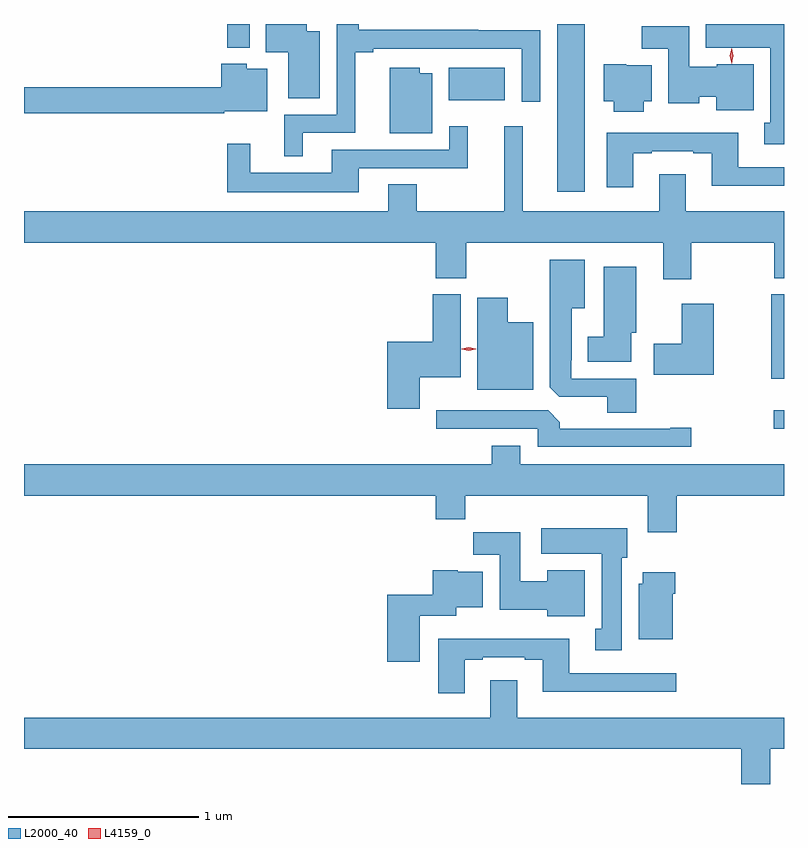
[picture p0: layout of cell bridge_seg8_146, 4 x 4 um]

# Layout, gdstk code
import gdstk
lib = gdstk.Library(unit=1e-6, precision=1e-09)
def R(c, l, rs):  # rectangles x0, y0, x1, y1
    for r in rs: c.add(gdstk.rectangle(r[:2], r[2:], *l))
def P(c, l, *ps):  # polygons
    for p in ps: c.add(gdstk.Polygon(p, *l))
L2000_40 = (2000, 40)
L4159_0 = (4159, 0)

bridge_seg8_146 = lib.new_cell('bridge_seg8_146')
R(bridge_seg8_146, L2000_40, [(523.011,1147.488,523.064,1147.584), (522.996,1147.752,523.064,1148.196), (521.87,1148.736,522.016,1149.618), (521.3,1149.218,521.593,1149.388), (520.135,1149.494,520.251,1149.618)])
P(bridge_seg8_146, L2000_40, [(520.621,1149.58),(520.552,1149.58),(520.552,1149.618),(520.336,1149.618),(520.336,1149.47),(520.454,1149.47),(520.454,1149.226),(520.621,1149.226)],
  [(520.531,1149.045),(520.808,1149.045),(520.808,1149.469),(520.903,1149.469),(520.903,1149.489),(521.685,1149.489),(521.685,1149.21),(521.781,1149.21),(521.781,1149.585),(521.456,1149.585),(521.456,1149.587),(520.826,1149.587),(520.826,1149.618),(520.71,1149.618),(520.71,1149.141),(520.433,1149.141),(520.433,1148.921),(520.531,1148.921)],
  [(523.064,1149.618),(522.653,1149.618),(522.653,1149.494),(522.992,1149.494),(522.992,1149.098),(522.959,1149.098),(522.959,1148.985),(523.064,1148.985)],
  [(522.904,1149.406),(522.711,1149.406),(522.711,1149.394),(522.565,1149.394),(522.565,1149.606),(522.316,1149.606),(522.316,1149.488),(522.455,1149.488),(522.455,1149.2),(522.619,1149.2),(522.619,1149.236),(522.707,1149.236),(522.707,1149.164),(522.904,1149.164)],
  [(520.119,1149.158),(520.345,1149.158),(520.345,1149.382),(520.236,1149.382),(520.236,1149.409),(520.103,1149.409),(520.103,1149.284),(519.064,1149.284),(519.064,1149.148),(520.119,1149.148)],
  [(522.325,1149.212),(522.367,1149.212),(522.367,1149.4),(522.234,1149.4),(522.234,1149.406),(522.116,1149.406),(522.116,1149.212),(522.167,1149.212),(522.167,1149.155),(522.325,1149.155)],
  [(521.212,1149.358),(521.146,1149.358),(521.146,1149.388),(520.988,1149.388),(520.988,1149.044),(521.212,1149.044)],
  [(520.825,1148.859),(521.399,1148.859),(521.399,1149.079),(521.301,1149.079),(521.301,1148.955),(520.685,1148.955),(520.685,1148.836),(520.255,1148.836),(520.255,1148.989),(520.134,1148.989),(520.134,1148.732),(520.825,1148.732)],
  [(522.576,1148.468),(523.012,1148.468),(523.012,1148.281),(523.064,1148.281),(523.064,1148.632),(522.547,1148.632),(522.547,1148.827),(522.407,1148.827),(522.407,1148.632),(521.69,1148.632),(521.69,1149.079),(521.591,1149.079),(521.591,1148.632),(521.13,1148.632),(521.13,1148.774),(520.982,1148.774),(520.982,1148.632),(519.064,1148.632),(519.064,1148.468),(521.231,1148.468),(521.231,1148.281),(521.391,1148.281),(521.391,1148.468),(522.428,1148.468),(522.428,1148.274),(522.576,1148.274)],
  [(522.271,1148.937),(522.367,1148.937),(522.367,1148.949),(522.587,1148.949),(522.587,1148.937),(522.683,1148.937),(522.683,1148.768),(523.064,1148.768),(523.064,1148.865),(522.823,1148.865),(522.823,1149.046),(522.131,1149.046),(522.131,1148.76),(522.271,1148.76)],
  [(522.287,1147.752),(521.943,1147.752),(521.943,1147.849),(521.947,1147.849),(521.947,1148.123),(522.016,1148.123),(522.016,1148.377),(521.831,1148.377),(521.831,1147.705),(521.88,1147.656),(522.134,1147.656),(522.134,1147.573),(522.287,1147.573)],
  [(522.259,1147.992),(522.286,1147.992),(522.286,1148.341),(522.116,1148.341),(522.116,1147.972),(522.032,1147.972),(522.032,1147.841),(522.259,1147.841)],
  [(521.146,1147.76),(521.362,1147.76),(521.362,1148.196),(521.216,1148.196),(521.216,1147.945),(520.976,1147.945),(520.976,1147.593),(521.146,1147.593)],
  [(521.743,1148.047),(521.611,1148.047),(521.611,1148.176),(521.45,1148.176),(521.45,1147.694),(521.743,1147.694)],
  [(522.693,1148.146),(522.527,1148.146),(522.527,1147.935),(522.378,1147.935),(522.378,1147.772),(522.693,1147.772)],
  [(522.577,1147.493),(522.464,1147.493),(522.464,1147.488),(521.885,1147.488),(521.885,1147.522),(521.823,1147.584),(521.235,1147.584),(521.235,1147.488),(521.769,1147.488),(521.769,1147.392),(522.577,1147.392)],
  [(522.5,1147.136),(523.064,1147.136),(523.064,1147.3),(521.677,1147.3),(521.677,1147.399),(521.525,1147.399),(521.525,1147.3),(519.064,1147.3),(519.064,1147.136),(521.231,1147.136),(521.231,1147.012),(521.387,1147.012),(521.387,1147.136),(522.347,1147.136),(522.347,1146.942),(522.5,1146.942)],
  [(522.211,1146.81),(522.238,1146.81),(522.238,1146.964),(521.787,1146.964),(521.787,1146.83),(522.104,1146.83),(522.104,1146.434),(522.071,1146.434),(522.071,1146.321),(522.211,1146.321)],
  [(522.016,1146.742),(521.819,1146.742),(521.819,1146.684),(521.677,1146.684),(521.677,1146.943),(521.428,1146.943),(521.428,1146.824),(521.567,1146.824),(521.567,1146.536),(521.819,1146.536),(521.819,1146.5),(522.016,1146.5)],
  [(521.146,1146.503),(521.338,1146.503),(521.338,1146.548),(521.479,1146.548),(521.479,1146.736),(521.346,1146.736),(521.346,1146.742),(521.216,1146.742),(521.216,1146.613),(520.976,1146.613),(520.976,1146.261),(521.146,1146.261)],
  [(522.478,1146.62),(522.491,1146.62),(522.491,1146.733),(522.32,1146.733),(522.32,1146.672),(522.299,1146.672),(522.299,1146.38),(522.478,1146.38)],
  [(521.383,1146.273),(521.479,1146.273),(521.479,1146.285),(521.699,1146.285),(521.699,1146.273),(521.795,1146.273),(521.795,1146.104),(522.496,1146.104),(522.496,1146.201),(521.935,1146.201),(521.935,1146.382),(521.243,1146.382),(521.243,1146.096),(521.383,1146.096)],
  [(522.991,1145.804),(523.064,1145.804),(523.064,1145.968),(521.659,1145.968),(521.659,1146.163),(521.519,1146.163),(521.519,1145.968),(519.064,1145.968),(519.064,1145.804),(522.839,1145.804),(522.839,1145.618),(522.991,1145.618)])
P(bridge_seg8_146, L4159_0, [(522.788,1149.41),(522.788,1149.41),(522.778,1149.45),(522.788,1149.49),(522.788,1149.49),(522.788,1149.49),(522.798,1149.45),(522.788,1149.41)],
  [(521.405,1147.898),(521.367,1147.907),(521.367,1147.907),(521.367,1147.908),(521.405,1147.917),(521.442,1147.908),(521.442,1147.908),(521.442,1147.907)])

lib.write_gds('bridge_seg8_146.gds')
